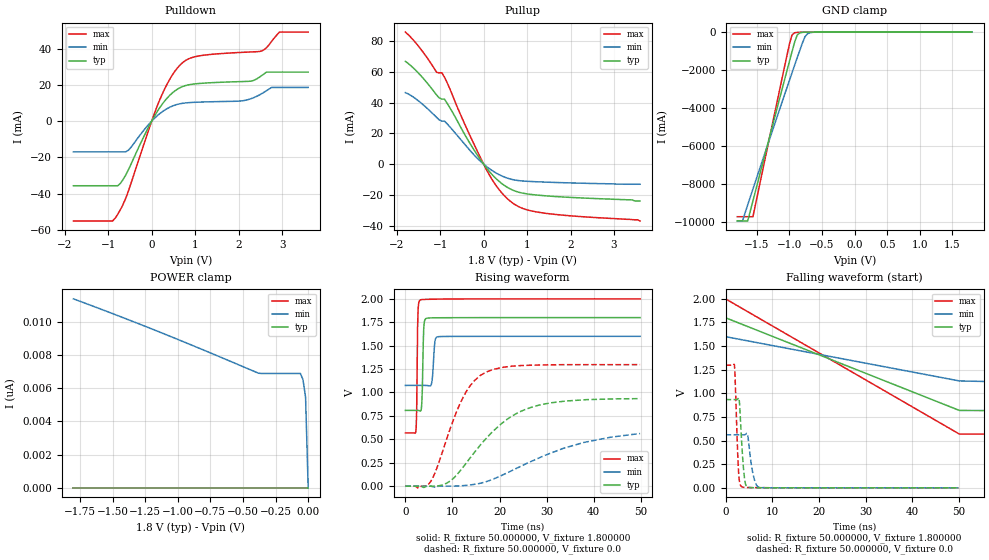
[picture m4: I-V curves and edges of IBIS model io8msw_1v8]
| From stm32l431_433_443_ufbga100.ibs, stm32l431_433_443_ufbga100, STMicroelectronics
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|   Model io8msw_1v8
[Model]  io8msw_1v8
Model_type I/O
Polarity   Non-Inverting
Enable   Active-Low
Vinl =   0.540000V
Vinh =   1.260000V
Vmeas =  0.900000V
Cref =   100.000000nF
Rref =   1.000000k
Vref =   1.800000V
C_comp   2.845500pF   2.787900pF   3.023700pF
[Temperature Range]   25.000000   0.125000k   -40.000000
[Pullup Reference]   1.800000V   1.600000V   2.000000V
[Pulldown Reference]   0.0V   0.0V   0.0V
[POWER Clamp Reference]   1.800000V   1.600000V   2.000000V
[GND Clamp Reference]   0.0V   0.0V   0.0V
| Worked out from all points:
|   slope of the pulldown table from 0 to 0.27 V, typ, clamps not added: 26.4 ohm
|   slope of the pullup table from 0 to 0.27 V, typ, clamps not added: 30.1 ohm
|   GND clamp passes 1 mA (typ) near -0.58 V on its own axis
|   rising waveform, R_fixture 50.000000, V_fixture 1.800000: 20-80 % time 263ps typ, 401ps min, 194ps max; typ from 0.809 V to 1.8 V
|   rising waveform, R_fixture 50.000000, V_fixture 0.0: 20-80 % time 10.6ns typ, 16.3ns min, 6.13ns max; typ from 0 V to 0.934 V
|   falling waveform, R_fixture 50.000000, V_fixture 1.800000: 20-80 % time 30.3ns typ, 33.6ns min, 30ns max; typ from 1.8 V to 0.809 V
|   falling waveform, R_fixture 50.000000, V_fixture 0.0: 20-80 % time 714ps typ, 1.02ns min, 553ps max; typ from 0.934 V to 0 V
[Pulldown]
|Voltage   I(typ)   I(min)   I(max)
-1.8V     -35.64mA   -16.93mA   -55.1mA
-840mV    -35.64mA   -16.93mA   -53.52mA
-720mV    -34.31mA   -16.93mA   -48.86mA
-540mV    -27.04mA   -16.13mA   -38.89mA
240mV     9.303mA    5.14mA     14.78mA
480mV     15.67mA    8.374mA    25.64mA
720mV     19.18mA    9.883mA    32.46mA
1.08V     20.76mA    10.49mA    35.96mA
2.1V      21.86mA    11.27mA    37.98mA
2.52V     24.95mA    15.02mA    38.63mA
2.94V     27.08mA    18.61mA    49.17mA
3.6V      27.08mA    18.61mA    49.17mA
[Pullup]
|Voltage   I(typ)   I(min)   I(max)
-1.8V     66.8mA     46.45mA    85.85mA
-1.44V    57.37mA    39.75mA    74.56mA
-1.08V    44.9mA     30.35mA    59.63mA
-960mV    42.24mA    27.97mA    59.31mA
-900mV    42.24mA    27.97mA    56.52mA
-300mV    12.81mA    8.47mA     17.72mA
60mV      -2.268mA   -1.401mA   -3.341mA
300mV     -9.801mA   -6.008mA   -14.46mA
600mV     -15.96mA   -9.582mA   -23.81mA
900mV     -18.89mA   -10.98mA   -28.81mA
1.32V     -20.37mA   -11.6mA    -31.56mA
3.6V      -24mA      -13.1mA    -37mA
[GND_clamp]
|Voltage   I(typ)   I(min)   I(max)
-1.8V     -9.93A     -9.932A    -9.707A
-1.72V    -9.93A     -9.932A    -9.707A
-1.64V    -9.93A     -9.083A    -9.707A
-1.56V    -8.876A    -8.251A    -9.707A
-1V       -1.54A     -2.541A    -631mA
-960mV    -1.028A    -2.139A    -153.7mA
-920mV    -527mA     -1.74A     -39.12mA
-880mV    -155.6mA   -1.344A    -18.01mA
-840mV    -45.32mA   -953mA     -12.68mA
-760mV    -8.418mA   -235mA     -7.62mA
-680mV    -3.44mA    -33.01mA   -3.865mA
1.8V      0A         0A         0A
[POWER_clamp]
|Voltage   I(typ)   I(min)   I(max)
-1.8V     0A         11.37nA    0A
-1.14V    0A         9.374nA    0A
-380mV    0A         6.895nA    0A
-60mV     0A         6.881nA    0A
-40mV     0A         6.518nA    0A
-20mV     0A         5.452nA    0A
0V        0A         0A         0A
[Ramp]
| variable   typ   min   max
dV/dt_r  0.55991/10.62697n   0.31338/16.44617n   0.77868/6.12103n
dV/dt_f  0.58904/9.83219n   0.28164/14.30743n   0.85882/5.39759n
R_load = 50.000000
[Rising Waveform]
R_fixture= 50.000000
V_fixture= 1.800000
V_fixture_min= 1.600000
V_fixture_max= 2.000000
|time   V(typ)   V(min)   V(max)
0s        808.7mV    1.076V     568.2mV
2.202ns   808.8mV    1.076V     575.8mV
2.402ns   808.8mV    1.076V     802.6mV
2.703ns   808.5mV    1.076V     1.882V
3.203ns   801.8mV    1.076V     1.989V
3.504ns   892.5mV    1.076V     1.992V
3.904ns   1.683V     1.076V     1.994V
4.505ns   1.792V     1.075V     1.995V
6.907ns   1.798V     1.595V     1.998V
49.85ns   1.8V       1.6V       2V
[Rising Waveform]
R_fixture= 50.000000
V_fixture= 0.0
V_fixture_min= 0.0
V_fixture_max= 0.0
|time   V(typ)   V(min)   V(max)
0s        2.998nV    80.83nV    2.225nV
5.405ns   -640.4uV   -1.162mV   50.94mV
8.809ns   32.09mV    -274.8uV   507.7mV
12.11ns   193.8mV    4.728mV    933.1mV
14.71ns   364mV      19.63mV    1.129V
17.12ns   506.5mV    46.95mV    1.217V
22.62ns   747.6mV    166.2mV    1.281V
28.33ns   864.3mV    299.8mV    1.294V
37.94ns   921.9mV    466.8mV    1.298V
49.85ns   934.4mV    561.5mV    1.298V
[Falling Waveform]
R_fixture= 50.000000
V_fixture= 1.800000
V_fixture_min= 1.600000
V_fixture_max= 2.000000
|time   V(typ)   V(min)   V(max)
0s        1.8V       1.6V       2V
50.05ns   819.1mV    1.131V     568.9mV
100.1ns   808.9mV    1.078V     568.2mV
150.2ns   808.8mV    1.076V     568.2mV
4.955us   808.7mV    1.076V     568.2mV
[Falling Waveform]
R_fixture= 50.000000
V_fixture= 0.0
V_fixture_min= 0.0
V_fixture_max= 0.0
|time   V(typ)   V(min)   V(max)
0s        934.4mV    561.5mV    1.298V
1.902ns   934.4mV    561.5mV    1.304V
2.803ns   952.7mV    561.5mV    159.6mV
3.003ns   887.6mV    561.5mV    58.29mV
3.504ns   441.5mV    561.2mV    10.62mV
4.304ns   35.79mV    567.3mV    3.916mV
4.705ns   8.633mV    565.8mV    3.369mV
6.106ns   1.481mV    99.72mV    2.645mV
7.207ns   1.113mV    4.681mV    2.402mV
49.85ns   2.998nV    80.83nV    2.225nV
